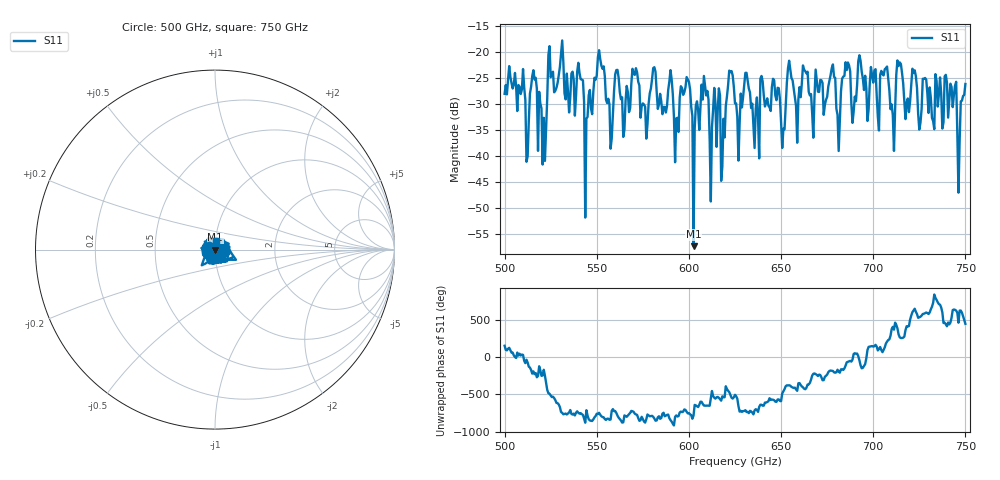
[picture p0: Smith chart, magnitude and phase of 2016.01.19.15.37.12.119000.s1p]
!Created with skrf (http://scikit-rf.org).
# GHz S RI R 50.0
!freq ReS11 ImS11
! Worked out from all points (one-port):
!   401 points, 500 GHz to 750 GHz, reference 50 ohm
!   lowest |S11| = -57.3 dB at 602.5 GHz (marker M1), VSWR 1.00, Z = 50.1 - j0.121 ohm
!   |S11| at or under -10 dB: start of sweep to end of sweep
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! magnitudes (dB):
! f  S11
! 500 GHz  -28.0
! 512.5 GHz  -40.0
! 516.2 GHz  -25.3
! 521.2 GHz  -32.6
! 525 GHz  -24.8
! 531.2 GHz  -17.7
! 541.2 GHz  -25.2
! 544.4 GHz  -32.8
! 551.2 GHz  -19.6
! 557.5 GHz  -38.6
! 562.5 GHz  -27.7
! 593.8 GHz  -32.6
! 599.4 GHz  -25.3
! 602.5 GHz  -57.3
! 608.1 GHz  -24.6
! 618.8 GHz  -32.8
! 621.9 GHz  -23.5
! 625 GHz  -29.9
! 651.2 GHz  -34.7
! 656.2 GHz  -25.4
! 687.5 GHz  -23.7
! 706.2 GHz  -23.3
! 710.6 GHz  -32.1
! 714.4 GHz  -21.9
! 718.8 GHz  -28.9
! 743.8 GHz  -28.3
! 746.9 GHz  -37.1
! 750 GHz  -26.1
